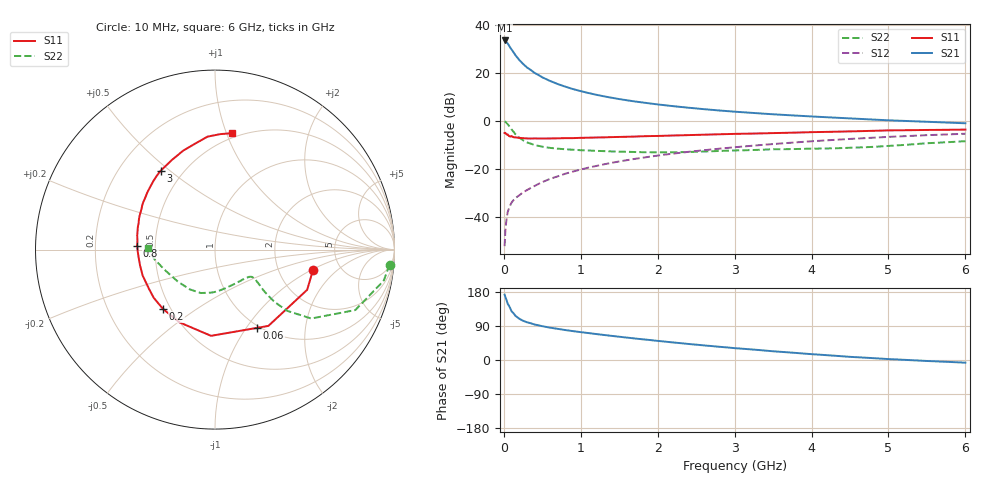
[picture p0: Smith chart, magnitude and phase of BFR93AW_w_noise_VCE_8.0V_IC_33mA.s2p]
! Infineon Technologies  Discrete & RF Semiconductors
! BFR93AW
! VCE =  8.0 V,  IC =  33 mA
! Common Emitter S-Parameters:  Jan 2017
# GHz  S  MA  R  50
!  f  S11  S21  S12  S22
! GHz  MAG  ANG  MAG  ANG  MAG  ANG  MAG  ANG
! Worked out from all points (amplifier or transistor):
!   77 points, 10 MHz to 6 GHz, reference 50 ohm
!   highest |S21| = 33.6 dB at 10 MHz (marker M1)
!   |S21| within 3 dB of that: start of sweep to 84.1 MHz
!   unconditionally stable (mu >= 1): 600.7 MHz to 2.038 GHz
!   at 130 MHz: K = 0.52, MSG = 30.7 dB, |S12| = -33.0 dB
!   at 2.2 GHz: K = 0.99, MSG = 9.9 dB, |S12| = -13.7 dB
!   at 6 GHz: K = 0.87, MSG = 2.2 dB, |S12| = -5.4 dB
!   lowest NFmin = 1.88 dB at 450 MHz
!   S11 on the Smith chart (normalised r, x): 10 MHz: 3.14, -1.04; 60 MHz: 0.97, -1.12; 200 MHz: 0.46, -0.37; 800 MHz: 0.39, +0.02; 3 GHz: 0.38, +0.46; 6 GHz: 0.46, +1.04
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0.01  0.5578 -11.8  47.77 172.5  0.0024 90.8  0.976 -5.0
0.02  0.5601 -23.6  47.25 166.2  0.0051 85.8  0.956 -10.4
0.05  0.5189 -55.0  41.36 148.5  0.0124 69.7  0.8513 -23.3
0.06  0.4948 -61.8  38.98 145.4  0.0138 67.8  0.8105 -25.3
0.1  0.4809 -92.6  31.01 128.5  0.0195 62.9  0.6598 -35.6
0.15  0.4511 -116.0  23.59 116.7  0.0243 59.4  0.527 -40.3
0.2  0.4395 -131.2  18.71 109.0  0.0277 61.5  0.445 -41.3
0.25  0.4344 -141.8  15.46 103.5  0.0321 61.5  0.3921 -40.9
0.3  0.4278 -149.4  13.06 99.6  0.0356 63.0  0.3545 -40.1
0.4  0.4283 -160.4  10.04 93.6  0.0435 65.5  0.312 -38.2
0.5  0.4268 -168.0  8.108 89.2  0.0523 67.7  0.2879 -37.0
0.6  0.4276 -173.7  6.815 85.4  0.0612 68.3  0.2718 -36.4
0.8  0.4344 177.1  5.166 79.0  0.0785 70.4  0.2541 -36.7
0.9  0.435 173.3  4.599 76.2  0.0871 70.5  0.2487 -37.5
1.1  0.4438 166.5  3.809 71.1  0.1051 70.2  0.2401 -40.0
1.5  0.4604 155.9  2.846 61.4  0.1414 68.7  0.2263 -48.1
2.1  0.4875 142.1  2.111 48.4  0.1969 64.8  0.2195 -65.8
3  0.5332 124.7  1.552 31.3  0.2802 57.3  0.24 -94.3
3.1  0.5363 122.9  1.513 29.8  0.2894 56.2  0.2418 -97.2
4.1  0.583 106.2  1.21 14.1  0.3821 46.3  0.2629 -126.1
5.1  0.6327 92.5  1.01 1.5  0.4689 35.4  0.3054 -159.7
6  0.6548 81.9  0.888 -7.1  0.5368 25.3  0.3749 178.7
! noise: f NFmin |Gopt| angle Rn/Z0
0.45  1.88  0.2  177  0.16
0.9  2.14  0.27  -173  0.16
1.9  3.19  0.51  -134  0.3
2.4  3.85  0.56  -124  0.58
